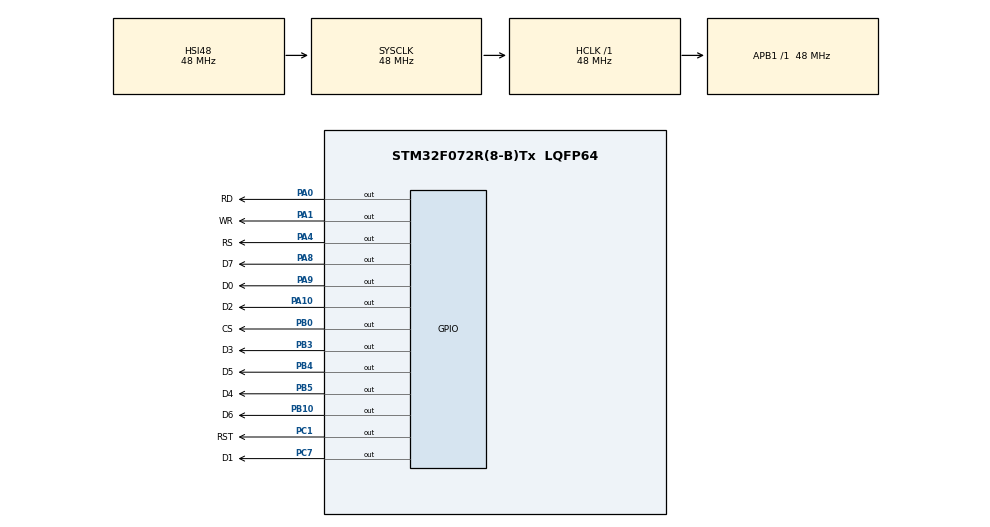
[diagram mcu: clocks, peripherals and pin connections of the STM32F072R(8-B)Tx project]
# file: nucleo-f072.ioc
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Mcu.Family=STM32F0
Mcu.Name=STM32F072R(8-B)Tx
Mcu.Package=LQFP64
PA0.GPIO_Label=RD
PA0.Signal=GPIO_Output
PA1.GPIO_Label=WR
PA1.Signal=GPIO_Output
PA10.GPIO_Label=D2
PA10.Signal=GPIO_Output
PA13.GPIO_Label=TMS
PA13.Mode=Serial_Wire
PA13.Signal=SYS_SWDIO
PA14.GPIO_Label=TCK
PA14.Mode=Serial_Wire
PA14.Signal=SYS_SWCLK
PA4.GPIO_Label=RS
PA4.Signal=GPIO_Output
PA8.GPIO_Label=D7
PA8.Signal=GPIO_Output
PA9.GPIO_Label=D0
PA9.Signal=GPIO_Output
PB0.GPIO_Label=CS
PB0.Signal=GPIO_Output
PB10.GPIO_Label=D6
PB10.Signal=GPIO_Output
PB3.GPIO_Label=D3
PB3.Signal=GPIO_Output
PB4.GPIO_Label=D5
PB4.Signal=GPIO_Output
PB5.GPIO_Label=D4
PB5.Signal=GPIO_Output
PC1.GPIO_Label=RST
PC1.Signal=GPIO_Output
PC7.GPIO_Label=D1
PC7.Signal=GPIO_Output
ProjectManager.HeapSize=0x200
ProjectManager.StackSize=0x400
ProjectManager.TargetToolchain=STM32CubeIDE
RCC.AHBFreq_Value=48000000
RCC.APB1Freq_Value=48000000
RCC.APB1TimFreq_Value=48000000
RCC.FLatency-AdvancedSettings=FLASH_LATENCY_1
RCC.HCLKFreq_Value=48000000
RCC.PLLDivider=RCC_PREDIV_DIV2
RCC.PLLMUL=RCC_PLL_MUL12
RCC.PREFETCH_ENABLE-AdvancedSettings=1
RCC.SYSCLKFreq_VALUE=48000000
RCC.SYSCLKSource=RCC_SYSCLKSOURCE_HSI48
TIM1.Period=0xFFFF-1
TIM1.Prescaler=48-1
VP_TIM1_VS_ClockSourceINT.Mode=Internal
board=NUCLEO-F072RB

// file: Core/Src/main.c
/* USER CODE BEGIN Header */
/**
  ******************************************************************************
  * @file           : main.c
  * @brief          : Main program body
  ******************************************************************************
  * @attention
  *
  * <h2><center>&copy; Copyright (c) 2020 STMicroelectronics.
  * All rights reserved.</center></h2>
  *
  * This software component is licensed by ST under BSD 3-Clause license,
  * the "License"; You may not use this file except in compliance with the
  * License. You may obtain a copy of the License at:
  *                        opensource.org/licenses/BSD-3-Clause
  *
  ******************************************************************************
  */
/* USER CODE END Header */
#include "main.h"

/* USER CODE BEGIN Includes */
#include "fonts.h"
#include "tft.h"
#include "functions.h"
/* USER CODE END Includes */

TIM_HandleTypeDef htim1;

void SystemClock_Config(void);
static void MX_GPIO_Init(void);
static void MX_TIM1_Init(void);

/* USER CODE BEGIN 0 */
uint16_t ID=0;
/* USER CODE END 0 */

int main(void)
{

  /* MCU Configuration--------------------------------------------------------*/

  /* Reset of all peripherals, Initializes the Flash interface and the Systick. */
  HAL_Init();

  /* Configure the system clock */
  SystemClock_Config();

  /* Initialize all configured peripherals */
  MX_GPIO_Init();
  MX_TIM1_Init();
  /* USER CODE BEGIN 2 */

  ID = readID();

  HAL_Delay(100);

  tft_init (ID);

  setRotation(3);

  /* USER CODE END 2 */

  /* Infinite loop */
  while (1)
  {

    /* USER CODE BEGIN 3 */
	fillScreen(BLACK);
//	testFillScreen();
//	testLines(CYAN);
//	testFastLines(RED, BLUE);
	testFilledCircles(10, MAGENTA);
	testCircles(10, WHITE);

	printnewtstr(100, RED, &mono12x7bold, 1, "HELLO WORLD");

	scrollup(100);

	//invertDisplay(1);
  }
  /* USER CODE END 3 */
}

void SystemClock_Config(void)
{
  RCC_OscInitTypeDef RCC_OscInitStruct = {0};
  RCC_ClkInitTypeDef RCC_ClkInitStruct = {0};

  /** Initializes the RCC Oscillators according to the specified parameters
  * in the RCC_OscInitTypeDef structure.
  */
  RCC_OscInitStruct.OscillatorType = RCC_OSCILLATORTYPE_HSI48;
  RCC_OscInitStruct.HSI48State = RCC_HSI48_ON;
  RCC_OscInitStruct.PLL.PLLState = RCC_PLL_NONE;
  if (HAL_RCC_OscConfig(&RCC_OscInitStruct) != HAL_OK)
  {
    Error_Handler();
  }
  /** Initializes the CPU, AHB and APB buses clocks
  */
  RCC_ClkInitStruct.ClockType = RCC_CLOCKTYPE_HCLK|RCC_CLOCKTYPE_SYSCLK
                              |RCC_CLOCKTYPE_PCLK1;
  RCC_ClkInitStruct.SYSCLKSource = RCC_SYSCLKSOURCE_HSI48;
  RCC_ClkInitStruct.AHBCLKDivider = RCC_SYSCLK_DIV1;
  RCC_ClkInitStruct.APB1CLKDivider = RCC_HCLK_DIV1;

  if (HAL_RCC_ClockConfig(&RCC_ClkInitStruct, FLASH_LATENCY_1) != HAL_OK)
  {
    Error_Handler();
  }
}

static void MX_TIM1_Init(void)
{

  TIM_ClockConfigTypeDef sClockSourceConfig = {0};
  TIM_MasterConfigTypeDef sMasterConfig = {0};

  /* USER CODE BEGIN TIM1_Init 1 */
  __TIM1_CLK_ENABLE();

  /* USER CODE END TIM1_Init 1 */
  htim1.Instance = TIM1;
  htim1.Init.Prescaler = 48-1;
  htim1.Init.CounterMode = TIM_COUNTERMODE_UP;
  htim1.Init.Period = 0xFFFF-1;
  htim1.Init.ClockDivision = TIM_CLOCKDIVISION_DIV1;
  htim1.Init.RepetitionCounter = 0;
  htim1.Init.AutoReloadPreload = TIM_AUTORELOAD_PRELOAD_DISABLE;
  if (HAL_TIM_Base_Init(&htim1) != HAL_OK)
  {
    Error_Handler();
  }
  sClockSourceConfig.ClockSource = TIM_CLOCKSOURCE_INTERNAL;
  if (HAL_TIM_ConfigClockSource(&htim1, &sClockSourceConfig) != HAL_OK)
  {
    Error_Handler();
  }
  sMasterConfig.MasterOutputTrigger = TIM_TRGO_RESET;
  sMasterConfig.MasterSlaveMode = TIM_MASTERSLAVEMODE_DISABLE;
  if (HAL_TIMEx_MasterConfigSynchronization(&htim1, &sMasterConfig) != HAL_OK)
  {
    Error_Handler();
  }
  /* USER CODE BEGIN TIM1_Init 2 */
  HAL_TIM_Base_Start(&htim1);
  /* USER CODE END TIM1_Init 2 */

}

static void MX_GPIO_Init(void)
{
  GPIO_InitTypeDef GPIO_InitStruct = {0};

  /* GPIO Ports Clock Enable */
  __HAL_RCC_GPIOC_CLK_ENABLE();
  __HAL_RCC_GPIOA_CLK_ENABLE();
  __HAL_RCC_GPIOB_CLK_ENABLE();

  /*Configure GPIO pin Output Level */
  HAL_GPIO_WritePin(GPIOC, RST_Pin|D1_Pin, GPIO_PIN_RESET);

  /*Configure GPIO pin Output Level */
  HAL_GPIO_WritePin(GPIOA, RD_Pin|WR_Pin|RS_Pin|D7_Pin
                          |D0_Pin|D2_Pin, GPIO_PIN_RESET);

  /*Configure GPIO pin Output Level */
  HAL_GPIO_WritePin(GPIOB, CS_Pin|D6_Pin|D3_Pin|D5_Pin
                          |D4_Pin, GPIO_PIN_RESET);

  /*Configure GPIO pins : RST_Pin D1_Pin */
  GPIO_InitStruct.Pin = RST_Pin|D1_Pin;
  GPIO_InitStruct.Mode = GPIO_MODE_OUTPUT_PP;
  GPIO_InitStruct.Pull = GPIO_NOPULL;
  GPIO_InitStruct.Speed = GPIO_SPEED_FREQ_LOW;
  HAL_GPIO_Init(GPIOC, &GPIO_InitStruct);

  /*Configure GPIO pins : RD_Pin WR_Pin RS_Pin D7_Pin
                           D0_Pin D2_Pin */
  GPIO_InitStruct.Pin = RD_Pin|WR_Pin|RS_Pin|D7_Pin
                          |D0_Pin|D2_Pin;
  GPIO_InitStruct.Mode = GPIO_MODE_OUTPUT_PP;
  GPIO_InitStruct.Pull = GPIO_NOPULL;
  GPIO_InitStruct.Speed = GPIO_SPEED_FREQ_LOW;
  HAL_GPIO_Init(GPIOA, &GPIO_InitStruct);

  /*Configure GPIO pins : CS_Pin D6_Pin D3_Pin D5_Pin
                           D4_Pin */
  GPIO_InitStruct.Pin = CS_Pin|D6_Pin|D3_Pin|D5_Pin
                          |D4_Pin;
  GPIO_InitStruct.Mode = GPIO_MODE_OUTPUT_PP;
  GPIO_InitStruct.Pull = GPIO_NOPULL;
  GPIO_InitStruct.Speed = GPIO_SPEED_FREQ_LOW;
  HAL_GPIO_Init(GPIOB, &GPIO_InitStruct);

}

void Error_Handler(void)
{
}

/************************ (C) COPYRIGHT STMicroelectronics *****END OF FILE****/
